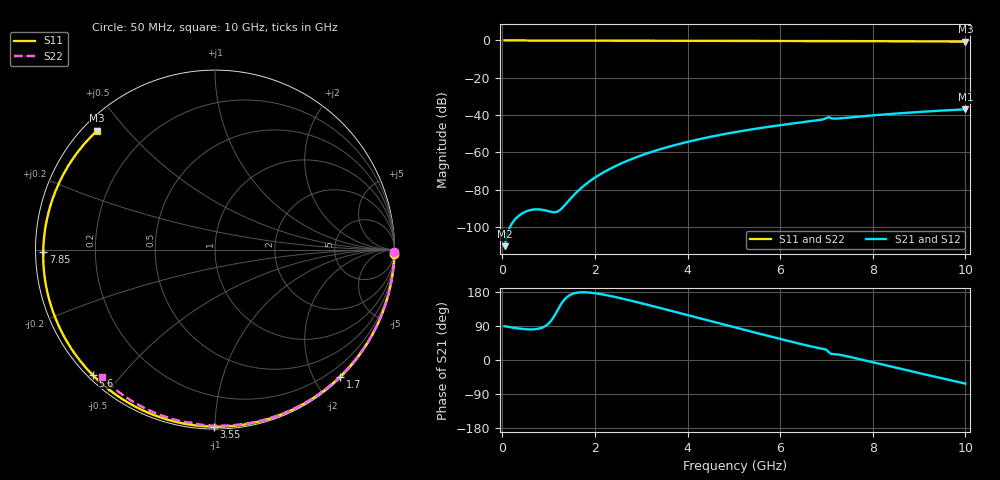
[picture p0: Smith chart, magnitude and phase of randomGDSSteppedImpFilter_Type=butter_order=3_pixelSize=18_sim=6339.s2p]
! freq	dB(S11)	phase(S11)	dB(S12)	phase(S12)
!  dB(S21)	phase(S21)	dB(S22)	phase(S22)
!S-par simulation data
#  GHz  S  DB  R 50
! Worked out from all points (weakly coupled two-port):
!   200 points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, 50 MHz to 10 GHz, reference 50 ohm
!   highest |S21| = -36.92 dB at 10 GHz (marker M1); lowest = -110.3 dB at 50 MHz (marker M2)
!   lowest |S11| = -0.6 dB at 10 GHz (marker M3), VSWR 28.91, Z = 2.03 + j20.8 ohm
!   |S11| at or under -10 dB: nowhere
!   |S22| runs from -0.4 to 0.0 dB; largest |S21 - S12| = 0
!   S11 on the Smith chart (normalised r, x): 50 MHz: 0, -83; 1.7 GHz: 0.02, -2.39; 3.55 GHz: 0.01, -1.00; 5.6 GHz: 0.01, -0.42; 7.85 GHz: 0.02, -0.01; 10 GHz: 0.04, +0.42
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0.05  -0.00 -1.4  -110.29 89.1  -110.29 89.1  -0.00 -0.8
0.45  -0.02 -12.3  -92.43 81.8  -92.43 81.8  -0.01 -6.8
0.85  -0.03 -23.1  -90.73 84.9  -90.73 84.9  -0.02 -12.8
1.65  -0.06 -44.1  -80.32 178.2  -80.32 178.2  -0.03 -24.7
1.7  -0.06 -45.4  -79.20 178.6  -79.20 178.6  -0.03 -25.5
1.75  -0.06 -46.7  -78.14 178.8  -78.14 178.8  -0.03 -26.2
2.05  -0.07 -54.3  -72.74 175.4  -72.74 175.4  -0.04 -30.6
2.45  -0.08 -64.3  -67.29 166.0  -67.29 166.0  -0.05 -36.4
2.9  -0.09 -75.2  -62.55 153.0  -62.55 153.0  -0.06 -42.8
3.4  -0.11 -86.9  -58.39 137.6  -58.39 137.6  -0.07 -49.9
3.55  -0.12 -90.3  -57.30 132.8  -57.30 132.8  -0.07 -52.0
4.25  -0.14 -105.8  -52.94 110.6  -52.94 110.6  -0.09 -61.6
5.05  -0.18 -122.8  -49.05 85.2  -49.05 85.2  -0.11 -72.2
5.6  -0.21 -134.1  -46.85 68.0  -46.85 68.0  -0.13 -79.3
6.7  -0.28 -156.2  -43.20 34.9  -43.20 34.9  -0.18 -93.1
6.9  -0.30 -160.1  -42.45 30.0  -42.45 30.0  -0.19 -95.6
7.05  -0.31 -163.1  -41.15 20.8  -41.15 20.8  -0.24 -97.4
7.2  -0.32 -166.1  -41.93 15.2  -41.93 15.2  -0.22 -99.0
7.85  -0.38 -179.2  -40.49 -1.5  -40.49 -1.5  -0.25 -106.8
8.35  -0.43 170.6  -39.48 -15.9  -39.48 -15.9  -0.29 -112.6
9.15  -0.51 153.7  -38.10 -38.7  -38.10 -38.7  -0.36 -121.8
10  -0.60 134.8  -36.92 -62.2  -36.92 -62.2  -0.45 -131.4
